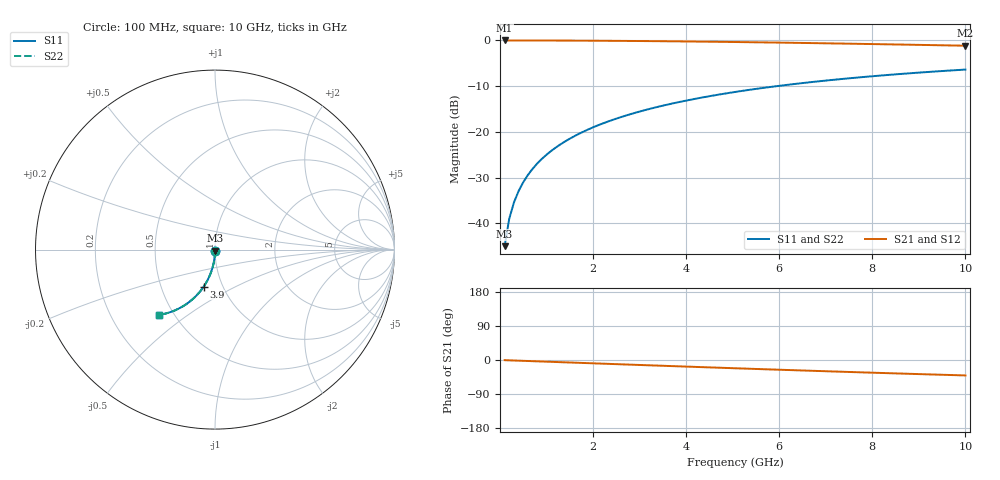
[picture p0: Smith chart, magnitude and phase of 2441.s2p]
# Hz S RI R 50.00
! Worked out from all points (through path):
!   100 points, 100 MHz to 10 GHz, reference 50 ohm
!   highest |S21| = 0.00 dB at 100 MHz (marker M1); lowest = -1.1 dB at 10 GHz (marker M2)
!   group delay of S21, straight-line fit = 11.4 ps
!   lowest |S11| = -45.0 dB at 100 MHz (marker M3), VSWR 1.01, Z = 50 - j0.565 ohm
!   |S11| at or under -10 dB: start of sweep to 5.938 GHz
!   |S22| runs from -45.0 to -6.4 dB; largest |S21 - S12| = 0
!   S11 on the Smith chart (normalised r, x): 100 MHz: 1.00, -0.01; 3.9 GHz: 0.81, -0.35; 10 GHz: 0.41, -0.39
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1e8  0.000195 -0.00565  0.9997 -0.00766  0.9997 -0.00766  0.000195 -0.00565
2e8  5.99e-05 -0.0113  0.9996 -0.0153  0.9996 -0.0153  5.99e-05 -0.0113
3e8  -0.000162 -0.0169  0.9993 -0.023  0.9993 -0.023  -0.000162 -0.0169
4e8  -0.00047 -0.0226  0.999 -0.0306  0.999 -0.0306  -0.00047 -0.0226
5e8  -0.000865 -0.0282  0.9986 -0.0383  0.9986 -0.0383  -0.000865 -0.0282
6e8  -0.00135 -0.0338  0.9981 -0.0459  0.9981 -0.0459  -0.00135 -0.0338
7e8  -0.00191 -0.0395  0.9975 -0.0536  0.9975 -0.0536  -0.00191 -0.0395
8e8  -0.00257 -0.0451  0.9968 -0.0612  0.9968 -0.0612  -0.00257 -0.0451
9e8  -0.00331 -0.0507  0.996 -0.0688  0.996 -0.0688  -0.00331 -0.0507
1.1e9  -0.00504 -0.0618  0.9942 -0.084  0.9942 -0.084  -0.00504 -0.0618
1.4e9  -0.00828 -0.0784  0.9908 -0.1066  0.9908 -0.1066  -0.00828 -0.0784
1.8e9  -0.0138 -0.1003  0.9851 -0.1366  0.9851 -0.1366  -0.0138 -0.1003
2.1e9  -0.0187 -0.1164  0.9799 -0.1587  0.9799 -0.1587  -0.0187 -0.1164
2.5e9  -0.0264 -0.1374  0.9718 -0.1878  0.9718 -0.1878  -0.0264 -0.1374
2.9e9  -0.0354 -0.1578  0.9624 -0.2164  0.9624 -0.2164  -0.0354 -0.1578
3.4e9  -0.0482 -0.1823  0.9489 -0.2511  0.9489 -0.2511  -0.0482 -0.1823
3.9e9  -0.0627 -0.2056  0.9337 -0.2846  0.9337 -0.2846  -0.0627 -0.2056
5.1e9  -0.1033 -0.2559  0.8907 -0.3596  0.8907 -0.3596  -0.1033 -0.2559
5.9e9  -0.1342 -0.2844  0.8579 -0.4047  0.8579 -0.4047  -0.1342 -0.2844
6.7e9  -0.1674 -0.3086  0.8226 -0.4458  0.8226 -0.4458  -0.1674 -0.3086
8.4e9  -0.2422 -0.3459  0.7421 -0.5191  0.7421 -0.5191  -0.2422 -0.3459
1e10  -0.3138 -0.3639  0.6637 -0.5718  0.6637 -0.5718  -0.3138 -0.3639
